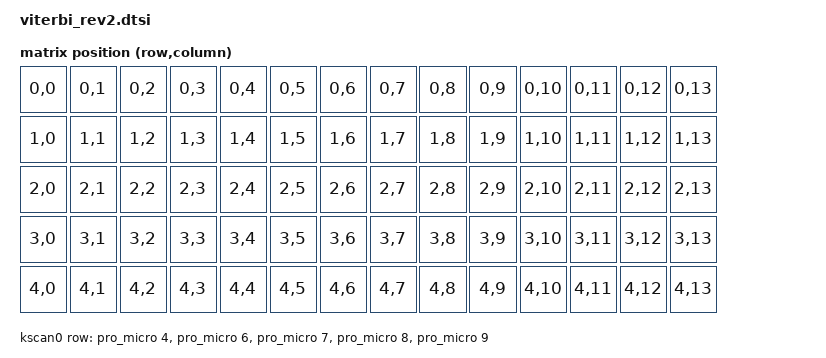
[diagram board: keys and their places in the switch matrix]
/*
 * Copyright (c) 2022 The ZMK Contributors
 *
 * SPDX-License-Identifier: MIT
 */

#include <dt-bindings/zmk/matrix_transform.h>

/ {
	chosen {
		zmk,kscan = &kscan0;
		zmk,matrix_transform = &default_transform;
	};

	default_transform: keymap_transform_0 {
		compatible = "zmk,matrix-transform";
		columns = <7>;
		rows = <10>;
// | SW1  | SW2  | SW3  | SW4  | SW5  | SW6  | SW7  |   | SW8  | SW9  | SW10 | SW11 | SW12 | SW13 | SW14 |
// | SW15 | SW16 | SW17 | SW18 | SW19 | SW20 | SW21 |   | SW22 | SW23 | SW24 | SW25 | SW26 | SW27 | SW28 |
// | SW29 | SW30 | SW31 | SW32 | SW33 | SW34 | SW35 |   | SW36 | SW37 | SW38 | SW39 | SW40 | SW41 | SW42 |
// | SW43 | SW44 | SW45 | SW46 | SW47 | SW48 | SW49 |   | SW50 | SW51 | SW52 | SW53 | SW54 | SW55 | SW56 |
// | SW57 | SW58 | SW59 | SW60 | SW61 | SW62 | SW63 |   | SW64 | SW65 | SW66 | SW67 | SW68 | SW69 | SW70 |
		map = <
RC(0,0) RC(0,1) RC(0,2) RC(0,3) RC(0,4) RC(0,5) RC(0,6)   RC(0,7) RC(0,8) RC(0,9) RC(0,10) RC(0,11) RC(0,12) RC(0,13)
RC(1,0) RC(1,1) RC(1,2) RC(1,3) RC(1,4) RC(1,5) RC(1,6)   RC(1,7) RC(1,8) RC(1,9) RC(1,10) RC(1,11) RC(1,12) RC(1,13)
RC(2,0) RC(2,1) RC(2,2) RC(2,3) RC(2,4) RC(2,5) RC(2,6)   RC(2,7) RC(2,8) RC(2,9) RC(2,10) RC(2,11) RC(2,12) RC(2,13)
RC(3,0) RC(3,1) RC(3,2) RC(3,3) RC(3,4) RC(3,5) RC(3,6)   RC(3,7) RC(3,8) RC(3,9) RC(3,10) RC(3,11) RC(3,12) RC(3,13)
RC(4,0) RC(4,1) RC(4,2) RC(4,3) RC(4,4) RC(4,5) RC(4,6)   RC(4,7) RC(4,8) RC(4,9) RC(4,10) RC(4,11) RC(4,12) RC(4,13)
		>;
	};

	kscan0: kscan {
		compatible = "zmk,kscan-gpio-matrix";
		label = "KSCAN";

		diode-direction = "col2row";
		row-gpios
			= <&pro_micro 4 (GPIO_ACTIVE_HIGH | GPIO_PULL_DOWN)>
			, <&pro_micro 6 (GPIO_ACTIVE_HIGH | GPIO_PULL_DOWN)>
			, <&pro_micro 7 (GPIO_ACTIVE_HIGH | GPIO_PULL_DOWN)>
			, <&pro_micro 8 (GPIO_ACTIVE_HIGH | GPIO_PULL_DOWN)>
			, <&pro_micro 9 (GPIO_ACTIVE_HIGH | GPIO_PULL_DOWN)>
			;
	};
};
